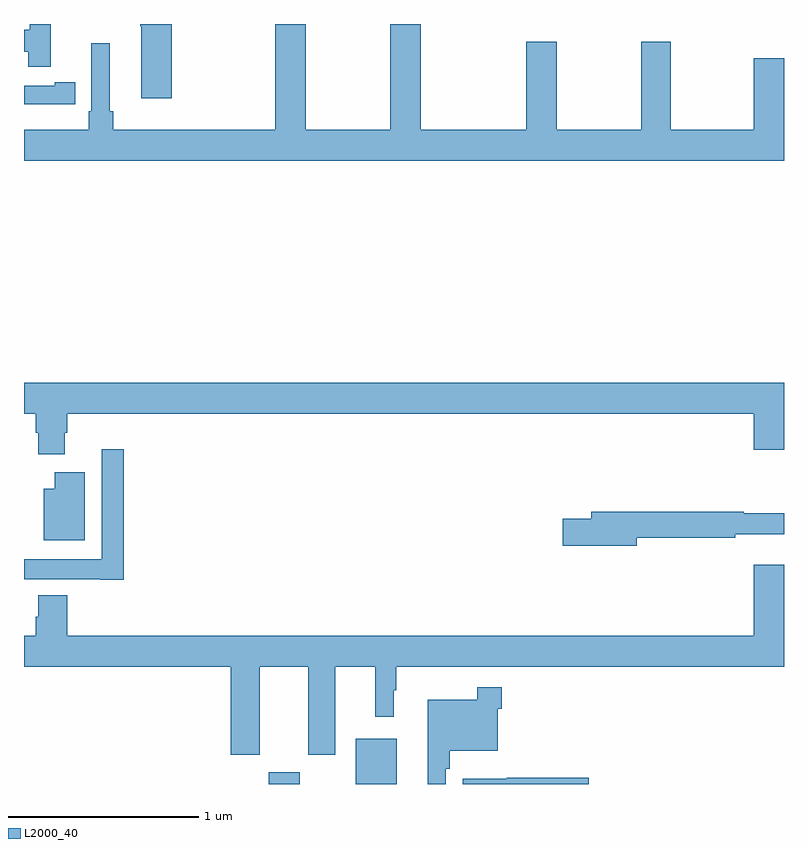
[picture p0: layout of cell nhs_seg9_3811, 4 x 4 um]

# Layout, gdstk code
import gdstk
lib = gdstk.Library(unit=1e-6, precision=1e-09)
def R(c, l, rs):  # rectangles x0, y0, x1, y1
    for r in rs: c.add(gdstk.rectangle(r[:2], r[2:], *l))
def P(c, l, *ps):  # polygons
    for p in ps: c.add(gdstk.Polygon(p, *l))
L2000_40 = (2000, 40)

nhs_seg9_3811 = lib.new_cell('nhs_seg9_3811')
R(nhs_seg9_3811, L2000_40, [(330.287,1166.5,330.451,1166.563), (330.746,1166.5,330.961,1166.737)])
P(nhs_seg9_3811, L2000_40, [(333,1170.319),(332.84,1170.319),(332.84,1169.944),(332.403,1169.944),(332.403,1170.406),(332.248,1170.406),(332.248,1169.944),(331.803,1169.944),(331.803,1170.406),(331.643,1170.406),(331.643,1169.944),(331.088,1169.944),(331.088,1170.5),(330.928,1170.5),(330.928,1169.944),(330.483,1169.944),(330.483,1170.5),(330.323,1170.5),(330.323,1169.944),(329.471,1169.944),(329.471,1170.04),(329.452,1170.04),(329.452,1170.4),(329.355,1170.4),(329.355,1170.04),(329.342,1170.04),(329.342,1169.944),(329,1169.944),(329,1169.78),(333,1169.78)],
  [(329.777,1170.5),(329.611,1170.5),(329.611,1170.487),(329.618,1170.487),(329.618,1170.108),(329.777,1170.108)],
  [(329.141,1170.5),(329.031,1170.5),(329.031,1170.47),(329,1170.47),(329,1170.354),(329.023,1170.354),(329.023,1170.276),(329.141,1170.276)],
  [(329.162,1170.078),(329.27,1170.078),(329.27,1170.194),(329.162,1170.194),(329.162,1170.174),(329,1170.174),(329,1170.077),(329.162,1170.077)],
  [(329.215,1168.35),(329.228,1168.35),(329.228,1168.448),(332.84,1168.448),(332.84,1168.26),(333,1168.26),(333,1168.612),(329,1168.612),(329,1168.448),(329.063,1168.448),(329.063,1168.35),(329.075,1168.35),(329.075,1168.236),(329.215,1168.236)],
  [(329.525,1168.261),(329.409,1168.261),(329.409,1167.682),(329,1167.682),(329,1167.578),(329.402,1167.578),(329.402,1167.576),(329.525,1167.576)],
  [(329.32,1168.141),(329.162,1168.141),(329.162,1168.054),(329.105,1168.054),(329.105,1167.782),(329.32,1167.782)],
  [(332.224,1167.796),(332.744,1167.796),(332.744,1167.815),(333,1167.815),(333,1167.925),(332.789,1167.925),(332.789,1167.932),(331.985,1167.932),(331.985,1167.896),(331.836,1167.896),(331.836,1167.754),(332.224,1167.754)],
  [(330.241,1167.116),(330.497,1167.116),(330.497,1166.655),(330.637,1166.655),(330.637,1167.116),(330.848,1167.116),(330.848,1166.853),(330.946,1166.853),(330.946,1166.993),(330.958,1166.993),(330.958,1167.116),(333,1167.116),(333,1167.655),(332.84,1167.655),(332.84,1167.28),(329.228,1167.28),(329.228,1167.493),(329.075,1167.493),(329.075,1167.381),(329.063,1167.381),(329.063,1167.28),(329,1167.28),(329,1167.116),(330.089,1167.116),(330.089,1166.655),(330.241,1166.655)],
  [(331.221,1166.579),(331.241,1166.579),(331.241,1166.675),(331.494,1166.675),(331.494,1166.897),(331.514,1166.897),(331.514,1167.01),(331.386,1167.01),(331.386,1166.944),(331.124,1166.944),(331.124,1166.5),(331.221,1166.5)],
  [(331.972,1166.534),(331.542,1166.534),(331.542,1166.527),(331.31,1166.527),(331.31,1166.5),(331.972,1166.5)])

lib.write_gds('nhs_seg9_3811.gds')
